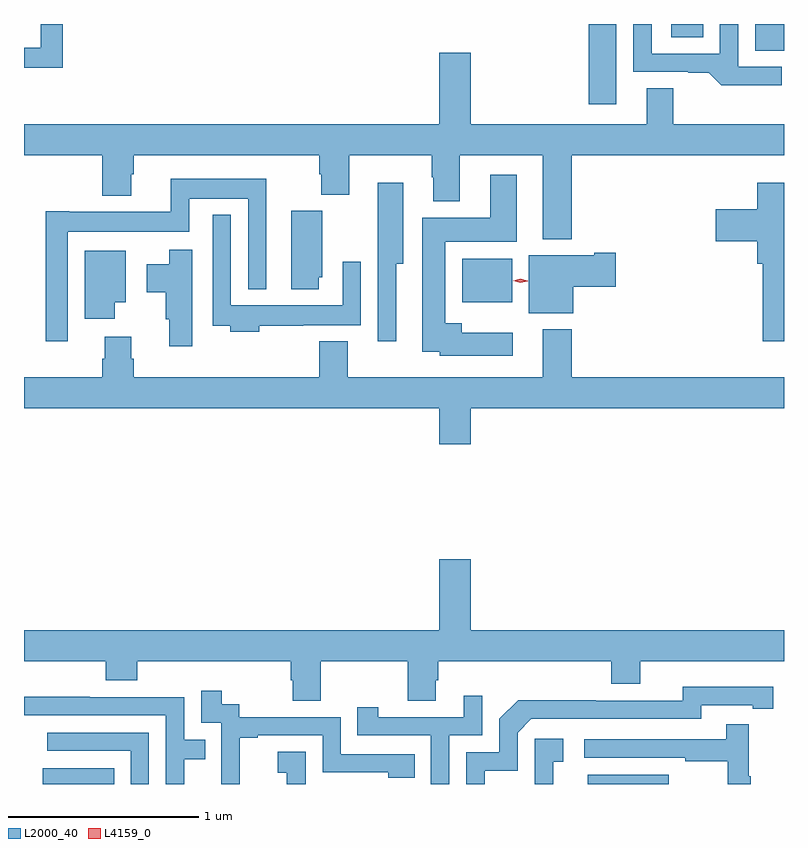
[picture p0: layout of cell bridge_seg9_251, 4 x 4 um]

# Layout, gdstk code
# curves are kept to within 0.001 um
import gdstk
lib = gdstk.Library(unit=1e-6, precision=1e-09)
def R(c, l, rs):  # rectangles x0, y0, x1, y1
    for r in rs: c.add(gdstk.rectangle(r[:2], r[2:], *l))
def P(c, l, *ps):  # polygons
    for p in ps: c.add(gdstk.Polygon(p, *l))
L2000_40 = (2000, 40)
L4159_0 = (4159, 0)

bridge_seg9_251 = lib.new_cell('bridge_seg9_251')
R(bridge_seg9_251, L2000_40, [(330.752,1179.791,331.13,1179.874), (333.62,1179.791,334.048,1179.841), (332.96,1182.326,333.223,1182.556), (333.626,1183.368,333.772,1183.791), (334.502,1183.651,334.654,1183.791), (334.061,1183.72,334.228,1183.791)])
P(bridge_seg9_251, L2000_40, [(330.857,1183.791),(330.741,1183.791),(330.741,1183.666),(330.654,1183.666),(330.654,1183.562),(330.734,1183.562),(330.734,1183.56),(330.857,1183.56)],
  [(334.642,1183.566),(334.413,1183.566),(334.413,1183.791),(334.317,1183.791),(334.317,1183.635),(333.957,1183.635),(333.957,1183.791),(333.861,1183.791),(333.861,1183.539),(334.151,1183.539),(334.151,1183.534),(334.259,1183.534),(334.325,1183.469),(334.642,1183.469)],
  [(333.536,1183.1),(334.654,1183.1),(334.654,1183.264),(334.072,1183.264),(334.072,1183.454),(333.932,1183.454),(333.932,1183.264),(333.004,1183.264),(333.004,1183.639),(332.84,1183.639),(332.84,1183.264),(330.654,1183.264),(330.654,1183.1),(331.067,1183.1),(331.067,1182.887),(331.219,1182.887),(331.219,1182.999),(331.232,1182.999),(331.232,1183.1),(332.207,1183.1),(332.207,1183.001),(332.219,1183.001),(332.219,1182.892),(332.367,1182.892),(332.367,1183.1),(332.8,1183.1),(332.8,1182.984),(332.807,1182.984),(332.807,1182.857),(332.947,1182.857),(332.947,1183.1),(333.383,1183.1),(333.383,1182.659),(333.536,1182.659)],
  [(333.226,1182.166),(332.959,1182.166),(332.959,1182.217),(332.872,1182.217),(332.872,1182.644),(333.247,1182.644),(333.247,1182.997),(333.107,1182.997),(333.107,1182.772),(332.75,1182.772),(332.75,1182.065),(332.841,1182.065),(332.841,1182.044),(333.226,1182.044)],
  [(330.885,1182.698),(331.524,1182.698),(331.524,1182.872),(331.833,1182.872),(331.833,1182.395),(331.93,1182.395),(331.93,1182.976),(331.427,1182.976),(331.427,1182.802),(330.892,1182.802),(330.892,1182.805),(330.769,1182.805),(330.769,1182.12),(330.885,1182.12)],
  [(334.654,1182.955),(334.514,1182.955),(334.514,1182.817),(334.296,1182.817),(334.296,1182.647),(334.514,1182.647),(334.514,1182.53),(334.543,1182.53),(334.543,1182.12),(334.654,1182.12)],
  [(332.614,1182.53),(332.65,1182.53),(332.65,1182.955),(332.516,1182.955),(332.516,1182.634),(332.517,1182.634),(332.517,1182.12),(332.614,1182.12)],
  [(332.206,1182.459),(332.224,1182.459),(332.224,1182.807),(332.06,1182.807),(332.06,1182.396),(332.206,1182.396)],
  [(331.892,1182.204),(332.123,1182.204),(332.123,1182.206),(332.427,1182.206),(332.427,1182.541),(332.331,1182.541),(332.331,1182.31),(331.743,1182.31),(331.743,1182.787),(331.647,1182.787),(331.647,1182.204),(331.739,1182.204),(331.739,1182.17),(331.892,1182.17)],
  [(331.54,1182.604),(331.418,1182.604),(331.418,1182.526),(331.301,1182.526),(331.301,1182.379),(331.4,1182.379),(331.4,1182.237),(331.418,1182.237),(331.418,1182.096),(331.54,1182.096)],
  [(331.132,1182.326),(331.189,1182.326),(331.189,1182.598),(330.974,1182.598),(330.974,1182.24),(331.132,1182.24)],
  [(333.544,1182.409),(333.769,1182.409),(333.769,1182.587),(333.656,1182.587),(333.656,1182.574),(333.311,1182.574),(333.311,1182.269),(333.544,1182.269)],
  [(333.004,1181.768),(334.654,1181.768),(334.654,1181.932),(333.536,1181.932),(333.536,1182.184),(333.383,1182.184),(333.383,1181.932),(332.359,1181.932),(332.359,1182.121),(332.207,1182.121),(332.207,1181.932),(331.232,1181.932),(331.232,1182.03),(331.219,1182.03),(331.219,1182.145),(331.079,1182.145),(331.079,1182.03),(331.067,1182.03),(331.067,1181.932),(330.654,1181.932),(330.654,1181.768),(332.84,1181.768),(332.84,1181.58),(333.004,1181.58)],
  [(333.004,1180.975),(332.84,1180.975),(332.84,1180.6),(330.654,1180.6),(330.654,1180.436),(331.085,1180.436),(331.085,1180.337),(331.25,1180.337),(331.25,1180.436),(332.057,1180.436),(332.057,1180.338),(332.069,1180.338),(332.069,1180.228),(332.217,1180.228),(332.217,1180.436),(332.674,1180.436),(332.674,1180.228),(332.821,1180.228),(332.821,1180.338),(332.834,1180.338),(332.834,1180.436),(333.746,1180.436),(333.746,1180.319),(333.898,1180.319),(333.898,1180.436),(334.654,1180.436),(334.654,1180.6),(333.004,1180.6)],
  [(333.079,1179.861),(333.252,1179.861),(333.252,1180.062),(333.324,1180.134),(334.218,1180.134),(334.218,1180.206),(334.49,1180.206),(334.49,1180.186),(334.598,1180.186),(334.598,1180.302),(334.122,1180.303),(334.122,1180.23),(333.662,1180.23),(333.662,1180.232),(333.254,1180.232),(333.156,1180.134),(333.156,1179.957),(332.982,1179.957),(332.982,1179.791),(333.079,1179.791)],
  [(331.79,1180.035),(331.885,1180.035),(331.885,1180.047),(332.226,1180.047),(332.226,1179.852),(332.571,1179.852),(332.571,1179.825),(332.711,1179.825),(332.711,1179.948),(332.322,1179.948),(332.322,1180.143),(331.788,1180.143),(331.788,1180.212),(331.696,1180.212),(331.696,1180.282),(331.587,1180.282),(331.587,1180.113),(331.692,1180.113),(331.692,1179.884),(331.691,1179.884),(331.691,1179.791),(331.79,1179.791)],
  [(332.892,1180.047),(333.066,1180.047),(333.066,1180.255),(332.969,1180.255),(332.969,1180.143),(332.518,1180.143),(332.518,1180.195),(332.407,1180.195),(332.407,1180.047),(332.796,1180.047),(332.796,1179.791),(332.892,1179.791)],
  [(331.497,1179.922),(331.607,1179.922),(331.607,1180.023),(331.497,1180.023),(331.497,1180.248),(331.001,1180.248),(331.001,1180.25),(330.654,1180.25),(330.654,1180.152),(331.401,1180.152),(331.401,1179.791),(331.497,1179.791)],
  [(334.48,1179.833),(334.469,1179.833),(334.469,1180.105),(334.351,1180.105),(334.351,1180.026),(333.603,1180.026),(333.603,1179.93),(334.135,1179.93),(334.135,1179.91),(334.359,1179.91),(334.359,1179.791),(334.48,1179.791)],
  [(331.311,1180.062),(330.777,1180.062),(330.777,1179.966),(331.215,1179.966),(331.215,1179.791),(331.311,1179.791)],
  [(333.44,1179.909),(333.493,1179.909),(333.493,1180.03),(333.342,1180.03),(333.342,1179.791),(333.44,1179.791)],
  [(332.136,1179.961),(331.989,1179.961),(331.989,1179.851),(332.038,1179.851),(332.038,1179.791),(332.136,1179.791)])
P(bridge_seg9_251, L4159_0, [(333.266,1182.429),(333.228,1182.439),(333.228,1182.439),(333.228,1182.439),(333.266,1182.449),(333.305,1182.439),(333.305,1182.439),(333.305,1182.438)])

lib.write_gds('bridge_seg9_251.gds')
